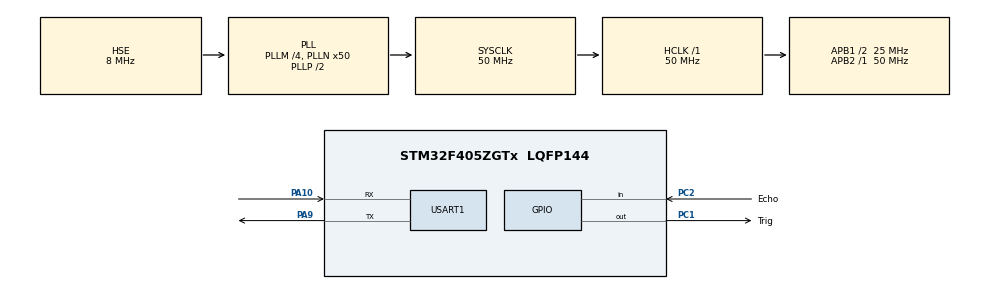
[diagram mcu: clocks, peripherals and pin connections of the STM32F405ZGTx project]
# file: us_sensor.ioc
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Mcu.Family=STM32F4
Mcu.Name=STM32F405ZGTx
Mcu.Package=LQFP144
NVIC.PriorityGroup=NVIC_PRIORITYGROUP_4
NVIC.TIM3_IRQn=true\:0\:0\:false\:false\:true\:true\:true
NVIC.USART1_IRQn=true\:0\:0\:false\:false\:true\:true\:true
PA10.Mode=Asynchronous
PA10.Signal=USART1_RX
PA9.Mode=Asynchronous
PA9.Signal=USART1_TX
PC1.GPIO_Label=Trig
PC1.Signal=GPIO_Output
PC2.GPIO_Label=Echo
PC2.Signal=GPIO_Input
PH0-OSC_IN.Mode=HSE-External-Oscillator
PH0-OSC_IN.Signal=RCC_OSC_IN
PH1-OSC_OUT.Mode=HSE-External-Oscillator
PH1-OSC_OUT.Signal=RCC_OSC_OUT
ProjectManager.HeapSize=0x200
ProjectManager.StackSize=0x400
ProjectManager.TargetToolchain=MDK-ARM V5.27
RCC.48MHZClocksFreq_Value=25000000
RCC.AHBFreq_Value=50000000
RCC.APB1CLKDivider=RCC_HCLK_DIV2
RCC.APB1Freq_Value=25000000
RCC.APB1TimFreq_Value=50000000
RCC.APB2Freq_Value=50000000
RCC.APB2TimFreq_Value=50000000
RCC.CortexFreq_Value=50000000
RCC.HCLKFreq_Value=50000000
RCC.HSE_VALUE=8000000
RCC.HSI_VALUE=16000000
RCC.LSE_VALUE=32768
RCC.PLLM=4
RCC.PLLN=50
RCC.PLLSourceVirtual=RCC_PLLSOURCE_HSE
RCC.SYSCLKFreq_VALUE=50000000
RCC.SYSCLKSource=RCC_SYSCLKSOURCE_PLLCLK
RCC.VCOOutputFreq_Value=100000000
TIM3.Period=2-1
TIM3.Prescaler=50-1
USART1.VirtualMode=VM_ASYNC
VP_TIM3_VS_ClockSourceINT.Mode=Internal
board=custom

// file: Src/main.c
/* USER CODE BEGIN Header */
/**
  ******************************************************************************
  * @file           : main.c
  * @brief          : Main program body
  ******************************************************************************
  * @attention
  *
  * <h2><center>&copy; Copyright (c) 2020 STMicroelectronics.
  * All rights reserved.</center></h2>
  *
  * This software component is licensed by ST under BSD 3-Clause license,
  * the "License"; You may not use this file except in compliance with the
  * License. You may obtain a copy of the License at:
  *                        opensource.org/licenses/BSD-3-Clause
  *
  ******************************************************************************
  */
/* USER CODE END Header */

#include "main.h"
#include "tim.h"
#include "usart.h"
#include "gpio.h"
#include "stdio.h"

void SystemClock_Config(void);
/* USER CODE BEGIN PFP */
float Cal_distance(unsigned long);    //user funtion
/* USER CODE END PFP */

/* USER CODE BEGIN 0 */
unsigned long TIM3_Count=0;
unsigned long Count=0;     //number count
float distance;
int Distance;
 uint8_t uart_txbuf[50];
/* USER CODE END 0 */

int main(void)
{

  /* MCU Configuration--------------------------------------------------------*/

  /* Reset of all peripherals, Initializes the Flash interface and the Systick. */
  HAL_Init();

  /* Configure the system clock */
  SystemClock_Config();

  /* Initialize all configured peripherals */
  MX_GPIO_Init();
  MX_TIM3_Init();
  MX_USART1_UART_Init();

  /* Infinite loop */
  /* USER CODE BEGIN WHILE */
  while (1)
  {
		// Trig
		HAL_GPIO_WritePin(Trig_GPIO_Port,Trig_Pin,GPIO_PIN_SET);
		HAL_Delay(20/1000);
		HAL_GPIO_WritePin(Trig_GPIO_Port,Trig_Pin,GPIO_PIN_RESET);

		//TIM3
		TIM3_Count=0;

		while(HAL_GPIO_ReadPin(Echo_GPIO_Port,Echo_Pin) == 0)
			HAL_TIM_Base_Start_IT(&htim3);

		while(HAL_GPIO_ReadPin(Echo_GPIO_Port,Echo_Pin) == 1)
			HAL_TIM_Base_Stop_IT(&htim3);

		Count=TIM3_Count;
		distance=Cal_distance(Count);  //measure task ends

		Distance=distance;

		uart_txbuf[0]=Distance/1000;
		uart_txbuf[1]=Distance/100%10;
		uart_txbuf[2]=Distance/10%10;
		uart_txbuf[3]=Distance%10;
		HAL_UART_Transmit(&huart1, uart_txbuf,50, 100);
		HAL_Delay(2000);
    /* USER CODE END WHILE */

  }
}
float Cal_distance(unsigned long Count)
	{
		float distance;
		distance=Count/500000*340/2*1000;
		return distance;
	}
void SystemClock_Config(void)
{
  RCC_OscInitTypeDef RCC_OscInitStruct = {0};
  RCC_ClkInitTypeDef RCC_ClkInitStruct = {0};

  /** Configure the main internal regulator output voltage
  */
  __HAL_RCC_PWR_CLK_ENABLE();
  __HAL_PWR_VOLTAGESCALING_CONFIG(PWR_REGULATOR_VOLTAGE_SCALE1);
  /** Initializes the CPU, AHB and APB busses clocks
  */
  RCC_OscInitStruct.OscillatorType = RCC_OSCILLATORTYPE_HSE;
  RCC_OscInitStruct.HSEState = RCC_HSE_ON;
  RCC_OscInitStruct.PLL.PLLState = RCC_PLL_ON;
  RCC_OscInitStruct.PLL.PLLSource = RCC_PLLSOURCE_HSE;
  RCC_OscInitStruct.PLL.PLLM = 4;
  RCC_OscInitStruct.PLL.PLLN = 50;
  RCC_OscInitStruct.PLL.PLLP = RCC_PLLP_DIV2;
  RCC_OscInitStruct.PLL.PLLQ = 4;
  if (HAL_RCC_OscConfig(&RCC_OscInitStruct) != HAL_OK)
  {
    Error_Handler();
  }
  /** Initializes the CPU, AHB and APB busses clocks
  */
  RCC_ClkInitStruct.ClockType = RCC_CLOCKTYPE_HCLK|RCC_CLOCKTYPE_SYSCLK
                              |RCC_CLOCKTYPE_PCLK1|RCC_CLOCKTYPE_PCLK2;
  RCC_ClkInitStruct.SYSCLKSource = RCC_SYSCLKSOURCE_PLLCLK;
  RCC_ClkInitStruct.AHBCLKDivider = RCC_SYSCLK_DIV1;
  RCC_ClkInitStruct.APB1CLKDivider = RCC_HCLK_DIV2;
  RCC_ClkInitStruct.APB2CLKDivider = RCC_HCLK_DIV1;

  if (HAL_RCC_ClockConfig(&RCC_ClkInitStruct, FLASH_LATENCY_1) != HAL_OK)
  {
    Error_Handler();
  }
}

void Error_Handler(void)
{
}

/************************ (C) COPYRIGHT STMicroelectronics *****END OF FILE****/
